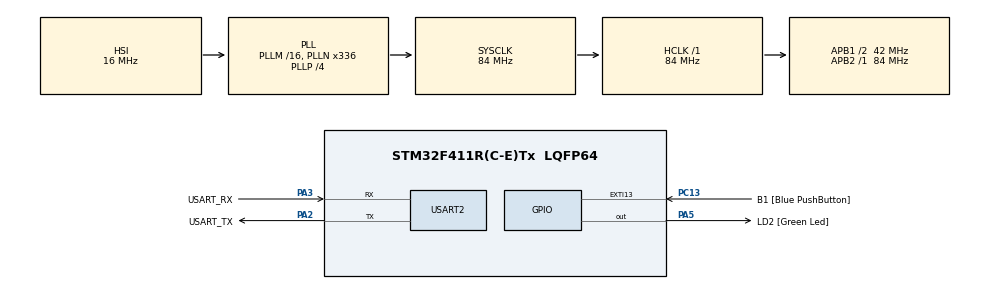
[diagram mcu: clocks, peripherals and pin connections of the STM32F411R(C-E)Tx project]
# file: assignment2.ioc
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Mcu.Family=STM32F4
Mcu.Name=STM32F411R(C-E)Tx
Mcu.Package=LQFP64
NVIC.PriorityGroup=NVIC_PRIORITYGROUP_0
PA13.GPIO_Label=TMS
PA13.Mode=Serial_Wire
PA13.Signal=SYS_JTMS-SWDIO
PA14.GPIO_Label=TCK
PA14.Mode=Serial_Wire
PA14.Signal=SYS_JTCK-SWCLK
PA2.GPIO_Label=USART_TX
PA2.Mode=Asynchronous
PA2.Signal=USART2_TX
PA3.GPIO_Label=USART_RX
PA3.Mode=Asynchronous
PA3.Signal=USART2_RX
PA5.GPIO_Label=LD2 [Green Led]
PA5.Signal=GPIO_Output
PB3.GPIO_Label=SWO
PB3.Signal=SYS_JTDO-SWO
PC13-ANTI_TAMP.GPIO_Label=B1 [Blue PushButton]
PC13-ANTI_TAMP.GPIO_ModeDefaultEXTI=GPIO_MODE_IT_FALLING
PC13-ANTI_TAMP.Signal=GPXTI13
PC14-OSC32_IN.Mode=LSE-External-Oscillator
PC14-OSC32_IN.Signal=RCC_OSC32_IN
PC15-OSC32_OUT.Mode=LSE-External-Oscillator
PC15-OSC32_OUT.Signal=RCC_OSC32_OUT
PH0\ -\ OSC_IN.Mode=HSE-External-Clock-Source
PH0\ -\ OSC_IN.Signal=RCC_OSC_IN
PH1\ -\ OSC_OUT.Mode=HSE-External-Clock-Source
PH1\ -\ OSC_OUT.Signal=RCC_OSC_OUT
ProjectManager.HeapSize=0x200
ProjectManager.StackSize=0x400
ProjectManager.TargetToolchain=STM32CubeIDE
RCC.48MHZClocksFreq_Value=84000000
RCC.AHBFreq_Value=84000000
RCC.APB1CLKDivider=RCC_HCLK_DIV2
RCC.APB1Freq_Value=42000000
RCC.APB1TimFreq_Value=84000000
RCC.APB2Freq_Value=84000000
RCC.APB2TimFreq_Value=84000000
RCC.CortexFreq_Value=84000000
RCC.FLatency-AdvancedSettings=FLASH_LATENCY_2
RCC.HCLKFreq_Value=84000000
RCC.HSE_VALUE=8000000
RCC.HSI_VALUE=16000000
RCC.PLLN=336
RCC.PLLP=RCC_PLLP_DIV4
RCC.SYSCLKFreq_VALUE=84000000
RCC.SYSCLKSource=RCC_SYSCLKSOURCE_PLLCLK
RCC.VCOOutputFreq_Value=336000000
USART2.VirtualMode=VM_ASYNC
board=NUCLEO-F411RE

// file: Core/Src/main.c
/* USER CODE BEGIN Header */
/**
  ******************************************************************************
  * @file           : main.c
  * @brief          : Main program body
  ******************************************************************************
  * @attention
  *
  * Copyright (c) 2023 STMicroelectronics.
  * All rights reserved.
  *
  * This software is licensed under terms that can be found in the LICENSE file
  * in the root directory of this software component.
  * If no LICENSE file comes with this software, it is provided AS-IS.
  *
  ******************************************************************************
  */
/* USER CODE END Header */
#include "main.h"

UART_HandleTypeDef huart2;

void SystemClock_Config(void);
static void MX_GPIO_Init(void);
static void MX_USART2_UART_Init(void);
/* USER CODE BEGIN PFP */

	enum event
	{
		ev_none,
		ev_button_press,
		ev_state_timeout
	};

	enum state
	{
		s_init,
		s_car_go,
		s_button_press,
		s_car_stopping,
		s_car_stop,
		s_person_walk,
		s_person_stop,
		s_car_starting
	};
/* USER CODE END PFP */

int main(void)
{

  /* MCU Configuration--------------------------------------------------------*/

  /* Reset of all peripherals, Initializes the Flash interface and the Systick. */
  HAL_Init();

  /* Configure the system clock */
  SystemClock_Config();

  /* Initialize all configured peripherals */
  MX_GPIO_Init();
  MX_USART2_UART_Init();

  /* Infinite loop */
  while (1)
  {

  }
}

void SystemClock_Config(void)
{
  RCC_OscInitTypeDef RCC_OscInitStruct = {0};
  RCC_ClkInitTypeDef RCC_ClkInitStruct = {0};

  /** Configure the main internal regulator output voltage
  */
  __HAL_RCC_PWR_CLK_ENABLE();
  __HAL_PWR_VOLTAGESCALING_CONFIG(PWR_REGULATOR_VOLTAGE_SCALE1);

  /** Initializes the RCC Oscillators according to the specified parameters
  * in the RCC_OscInitTypeDef structure.
  */
  RCC_OscInitStruct.OscillatorType = RCC_OSCILLATORTYPE_HSI;
  RCC_OscInitStruct.HSIState = RCC_HSI_ON;
  RCC_OscInitStruct.HSICalibrationValue = RCC_HSICALIBRATION_DEFAULT;
  RCC_OscInitStruct.PLL.PLLState = RCC_PLL_ON;
  RCC_OscInitStruct.PLL.PLLSource = RCC_PLLSOURCE_HSI;
  RCC_OscInitStruct.PLL.PLLM = 16;
  RCC_OscInitStruct.PLL.PLLN = 336;
  RCC_OscInitStruct.PLL.PLLP = RCC_PLLP_DIV4;
  RCC_OscInitStruct.PLL.PLLQ = 4;
  if (HAL_RCC_OscConfig(&RCC_OscInitStruct) != HAL_OK)
  {
    Error_Handler();
  }

  /** Initializes the CPU, AHB and APB buses clocks
  */
  RCC_ClkInitStruct.ClockType = RCC_CLOCKTYPE_HCLK|RCC_CLOCKTYPE_SYSCLK
                              |RCC_CLOCKTYPE_PCLK1|RCC_CLOCKTYPE_PCLK2;
  RCC_ClkInitStruct.SYSCLKSource = RCC_SYSCLKSOURCE_PLLCLK;
  RCC_ClkInitStruct.AHBCLKDivider = RCC_SYSCLK_DIV1;
  RCC_ClkInitStruct.APB1CLKDivider = RCC_HCLK_DIV2;
  RCC_ClkInitStruct.APB2CLKDivider = RCC_HCLK_DIV1;

  if (HAL_RCC_ClockConfig(&RCC_ClkInitStruct, FLASH_LATENCY_2) != HAL_OK)
  {
    Error_Handler();
  }
}

static void MX_USART2_UART_Init(void)
{

  huart2.Instance = USART2;
  huart2.Init.BaudRate = 115200;
  huart2.Init.WordLength = UART_WORDLENGTH_8B;
  huart2.Init.StopBits = UART_STOPBITS_1;
  huart2.Init.Parity = UART_PARITY_NONE;
  huart2.Init.Mode = UART_MODE_TX_RX;
  huart2.Init.HwFlowCtl = UART_HWCONTROL_NONE;
  huart2.Init.OverSampling = UART_OVERSAMPLING_16;
  if (HAL_UART_Init(&huart2) != HAL_OK)
  {
    Error_Handler();
  }

}

static void MX_GPIO_Init(void)
{
  GPIO_InitTypeDef GPIO_InitStruct = {0};

  /* GPIO Ports Clock Enable */
  __HAL_RCC_GPIOC_CLK_ENABLE();
  __HAL_RCC_GPIOH_CLK_ENABLE();
  __HAL_RCC_GPIOA_CLK_ENABLE();
  __HAL_RCC_GPIOB_CLK_ENABLE();

  /*Configure GPIO pin Output Level */
  HAL_GPIO_WritePin(LD2_GPIO_Port, LD2_Pin, GPIO_PIN_RESET);

  /*Configure GPIO pin : B1_Pin */
  GPIO_InitStruct.Pin = B1_Pin;
  GPIO_InitStruct.Mode = GPIO_MODE_IT_FALLING;
  GPIO_InitStruct.Pull = GPIO_NOPULL;
  HAL_GPIO_Init(B1_GPIO_Port, &GPIO_InitStruct);

  /*Configure GPIO pin : LD2_Pin */
  GPIO_InitStruct.Pin = LD2_Pin;
  GPIO_InitStruct.Mode = GPIO_MODE_OUTPUT_PP;
  GPIO_InitStruct.Pull = GPIO_NOPULL;
  GPIO_InitStruct.Speed = GPIO_SPEED_FREQ_LOW;
  HAL_GPIO_Init(LD2_GPIO_Port, &GPIO_InitStruct);

}

void Error_Handler(void)
{
  __disable_irq();
  while (1)
  {
  }
}
